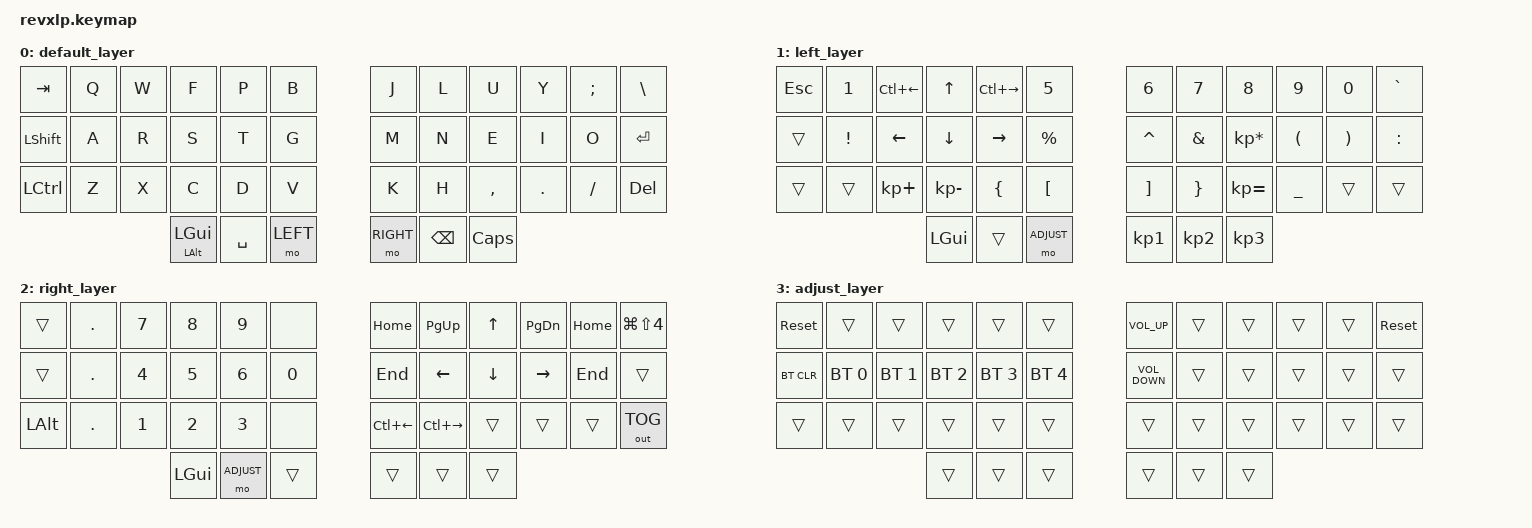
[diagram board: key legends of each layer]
/*
 * Copyright (c) 2020 The ZMK Contributors
 *
 * SPDX-License-Identifier: MIT
 * To use home rows - &hm LSHFT F
 */

#include <behaviors.dtsi>
#include <dt-bindings/zmk/keys.h>
#include <dt-bindings/zmk/bt.h>
#include <dt-bindings/zmk/outputs.h>

#define COLEMAK 0
#define LEFT 1
#define RIGHT 2
#define ADJUST 3

/*                KEY POSITIONS

  ╭────────────────────────╮ ╭────────────────────────╮
  │  0   1   2   3   4   5 │ │  6   7   8   9  10  11 │
  │ 12  13  14  15  16  17 │ │ 18  19  20  21  22  23 │
  │ 24  25  26  27  28  29 │ │ 30  31  32  33  34  35 │
  ╰───────────╮ 36  37  38 │ │ 39  40  41 ╭───────────╯
              ╰────────────╯ ╰────────────╯            */

/ {

    behaviors {        
        hm: homerow_mods {
        compatible = "zmk,behavior-hold-tap";
        label = "HOMEROW_MODS";
        #binding-cells = <2>;
        tapping-term-ms = <150>;
        quick_tap_ms = <0>;
        flavor = "tap-preferred";
        bindings = <&kp>, <&kp>;
        };
    };

        keymap {
                compatible = "zmk,keymap";

                default_layer {
// .------------------------------------------------------------------.       .--------------------------------------------------------------.
// |   TAB        |    Q    |    W   |     F      |    P    |    B    |       |    J     |    L    |    U    |    Y    |     ;    |    \     |
// |--------------+---------+--------+------------+---------+---------|       |----------+---------+---------+---------+----------+----------|
// |   SHIFT      |    A    |    R   |     S      |    T    |    G    |       |    M     |    N    |    E    |    I    |     O    |  ENTER   |
// |--------------+---------+--------+------------+---------+---------|       |----------+---------+---------+---------+----------+----------|
// |   LCTRL      |    Z    |    X   |     C      |    D    |    V    |       |    K     |    H    |    ,    |    .    |     /    |   DEL    |
// '---------------------------------+------------+---------+---------+       |----------+---------+---------+-------------------------------'
//                                   | LALT(LGUI) |  SPACE  | MO LEFT |       | MO RIGHT |   BKSP  |  CAPS   |
//                                   '------------+---------+---------'       '----------+---------+---------'
                        bindings = <
   &kp TAB        &kp Q       &kp W         &kp F       &kp P           &kp B          &kp J       &kp L      &kp U        &kp Y     &kp SEMI      &kp BACKSLASH
   &kp LSHIFT     &kp A       &kp R         &kp S       &kp T           &kp G          &kp M       &kp N      &kp E        &kp I     &kp O         &kp ENTER
   &kp LCTRL      &kp Z       &kp X         &kp C       &kp D           &kp V          &kp K       &kp H      &kp COMMA    &kp DOT   &kp FSLH      &kp DEL
                              &mt LALT LGUI	&kp SPACE   &mo LEFT        &mo RIGHT      &kp BSPC    &kp CAPSLOCK
                        >;
                };
                
                left_layer {
// .-------------------------------------------------------------.       .-----------------------------------------------------------.
// |  ESC  |    1    | CTRL LEFT |   UP   | CTRL RIGHT |    5    |       |   6   |    7    |    8    |    9    |     0    |    `     |
// |-------+---------+-----------+--------+------------+---------|       |-------+---------+---------+---------+----------+----------|
// |       |    !    |   LEFT    |  DOWN  |    RIGHT   |    %    |       |   ^   |    &    |    *    |    (    |     )    |     :    |
// |-------+---------+-----------+--------+------------+---------|       |-------+---------+---------+---------+----------+----------|
// |       |         |     +     |   -    |      {     |    [    |       |   ]   |    }    |    =    |    _    |          |          |
// '-----------------------------+--------+------------+---------+       |-------+---------+---------+-------------------------------'
//                               |  GUI   |            |   MO3   |       |   ,   |    .    |   ?     |
//                               '--------+------------+---------'       '-------+---------+---------'
                        bindings = <
   &kp ESC	&kp N1		&kp LC(LEFT_ARROW)	&kp UP_ARROW	&kp LC(RIGHT_ARROW)	&kp N5				&kp N6				&kp N7			&kp N8			&kp N9			&kp N0		&kp GRAVE
   &trans	&kp EXCL	&kp LEFT_ARROW		&kp DOWN_ARROW	&kp RIGHT_ARROW		&kp PRCNT			&kp CARET			&kp AMPS		&kp KP_MULTIPLY	&kp LPAR		&kp RPAR	&kp COLON
   &trans	&trans		&kp KP_PLUS			&kp KP_MINUS	&kp LEFT_BRACE		&kp LEFT_BRACKET	&kp RIGHT_BRACKET	&kp RIGHT_BRACE	&kp KP_EQUAL	&kp UNDERSCORE	&trans		&trans
                        &kp LGUI			&trans			&mo ADJUST			&kp KP_N1			&kp KP_N2			&kp KP_N3
                        >;
                };
                
                right_layer {
// .---------------------------------------------------------.       .-----------------------------------------------------------------.
// |                |   .   |   7   |   8   |   9   |        |       |  HOME   |    PU    |    UP   |   PD    |          | CMD+SHIFT+4 |
// |----------------+-------+-------+-------+-------+--------|       |---------+----------+---------+---------+----------+-------------|
// |                |   .   |   4   |   5   |   6   |    0   |       |  END    |   LEFT   |   DOWN  |  RIGHT  |          |             |
// |----------------+-------+-------+-------+-------+--------|       |---------+----------+---------+---------+----------+-------------|
// |     LALT       |   .   |   1   |   2   |   3   |        |       |CTRL+LEFT|CTRL+RIGHT|         |         |          |   OUT_TOG   |
// '--------------------------------+-------+-------+--------+       |---------+----------+---------+----------------------------------'
//                                  | GUI   |  MO3  |        |       |         |          |         |
//                                  '-------+-------+--------'       '---------+----------+---------'

                        bindings = <
   &trans	&kp DOT		&kp N7		&kp N8		&kp N9		&none		&kp HOME			&kp PAGE_UP			&kp UP_ARROW	&kp PAGE_DOWN	&kp HOME	&kp LG(LS(N4))
   &trans	&kp DOT		&kp N4		&kp N5		&kp N6		&kp N0		&kp END				&kp LEFT_ARROW		&kp DOWN_ARROW	&kp RIGHT_ARROW	&kp END		&trans
   &kp LALT	&kp DOT		&kp N1		&kp N2		&kp N3		&none		&kp LC(LEFT_ARROW)	&kp LC(RIGHT_ARROW)	&trans			&trans			&trans		&out OUT_TOG
                        &kp LGUI	&mo ADJUST	&trans		&trans		&trans				&trans
                        >;
                };

                adjust_layer {
// .--------------------------------------------------------.       .--------------------------------------------------------------.
// |         |        |        |        |         |         |       |  VOL+  |        |         |         |          |             |
// |---------+--------+--------+--------+---------+---------|       |--------+--------+---------+---------+----------+-------------|
// |  BTCLR  |  BT1   |  BT2   |  BT3   |  BT4    |  BT5    |       |  VOL-  |        |         |         |          |             |
// |---------+--------+--------+--------+---------+---------|       |--------+--------+---------+---------+----------+-------------|
// |         |        |        |        |         |         |       |        |        |         |         |          |             |
// '---------------------------+--------+---------+---------+       |--------+--------+---------+----------------------------------'
//                             |        |         |         |       |        |        |         |
//                             '--------+---------+---------'       '--------+--------+---------'

                        bindings = <
   &sys_reset      &trans          &trans         &trans          &trans          &trans            &kp C_VOLUME_UP    &trans &trans &trans &trans &sys_reset
   &bt BT_CLR  &bt BT_SEL 0    &bt BT_SEL 1   &bt BT_SEL 2    &bt BT_SEL 3    &bt BT_SEL 4      &kp C_VOLUME_DOWN  &trans &trans &trans &trans &trans
   &trans      &trans          &trans         &trans          &trans          &trans            &trans             &trans &trans &trans &trans &trans
                                   &trans &trans &trans   &trans &trans &trans
                        >;
                };
        };
};
